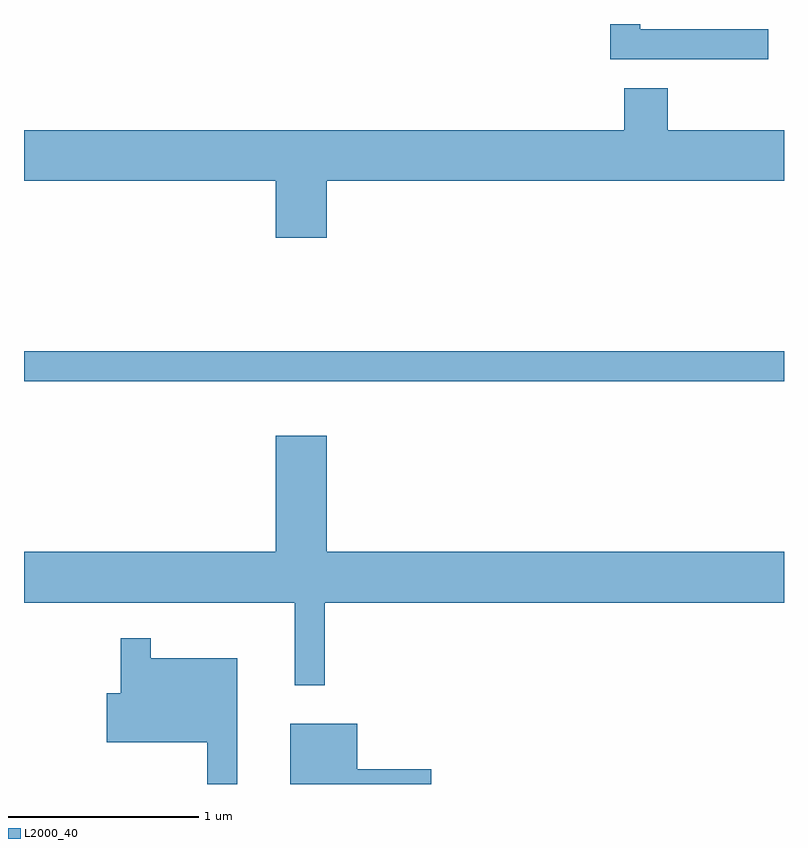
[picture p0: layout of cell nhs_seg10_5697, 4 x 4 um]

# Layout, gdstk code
import gdstk
lib = gdstk.Library(unit=1e-6, precision=1e-09)
def R(c, l, rs):  # rectangles x0, y0, x1, y1
    for r in rs: c.add(gdstk.rectangle(r[:2], r[2:], *l))
def P(c, l, *ps):  # polygons
    for p in ps: c.add(gdstk.Polygon(p, *l))
L2000_40 = (2000, 40)

nhs_seg10_5697 = lib.new_cell('nhs_seg10_5697')
R(nhs_seg10_5697, L2000_40, [(353.611,2110.641,357.611,2110.799)])
P(nhs_seg10_5697, L2000_40, [(357.528,2112.494),(356.854,2112.494),(356.854,2112.522),(356.696,2112.522),(356.696,2112.336),(357.528,2112.336)],
  [(353.611,2111.696),(354.936,2111.696),(354.936,2111.396),(355.204,2111.396),(355.204,2111.696),(357.611,2111.696),(357.611,2111.964),(356.999,2111.964),(356.999,2112.184),(356.771,2112.184),(356.771,2111.964),(353.611,2111.964)],
  [(355.194,2109.476),(357.611,2109.476),(357.611,2109.744),(355.204,2109.744),(355.204,2110.354),(354.936,2110.354),(354.936,2109.744),(353.611,2109.744),(353.611,2109.476),(355.036,2109.476),(355.036,2109.043),(355.194,2109.043)],
  [(354.734,2109.184),(354.279,2109.184),(354.279,2109.288),(354.121,2109.288),(354.121,2108.999),(354.046,2108.999),(354.046,2108.741),(354.576,2108.741),(354.576,2108.522),(354.734,2108.522)],
  [(355.754,2108.599),(355.364,2108.599),(355.364,2108.839),(355.011,2108.839),(355.011,2108.522),(355.754,2108.522)])

lib.write_gds('nhs_seg10_5697.gds')
